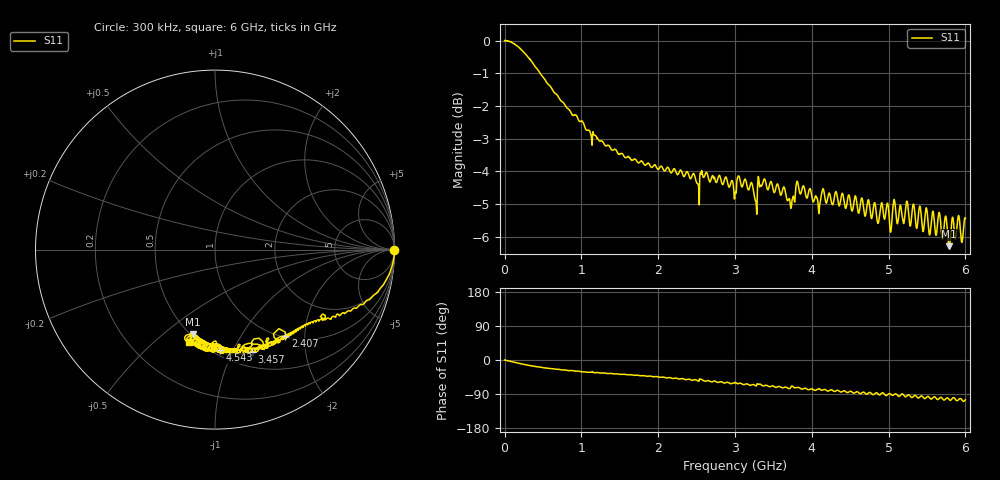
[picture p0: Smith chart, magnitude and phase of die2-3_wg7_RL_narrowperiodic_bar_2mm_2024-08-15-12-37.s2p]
!Keysight Technologies,P9374A,MY57304198,A.17.20.09
!Date: Thursday, August 15, 2024 12:37:59
!Correction: S11(C  1-Port  )
!S21(C  1-Port  )
!S12(Off)
!S22(Off)
!S2P File: Measurements: S11, S21, S12, S22:
# Hz S  dB  R 50
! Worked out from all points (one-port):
!   6000 points, 300 kHz to 6 GHz, reference 50 ohm
!   lowest |S11| = -6.3 dB at 5.789 GHz (marker M1), VSWR 2.88, Z = 25.9 - j31.8 ohm
!   |S11| at or under -10 dB: nowhere
!   S11 on the Smith chart (normalised r, x): 300 kHz: open; 2.407 GHz: 1.03, -1.60; 3.457 GHz: 0.66, -1.19; 4.543 GHz: 0.54, -0.89; 6 GHz: 0.46, -0.66
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300000  -0.00 -0.0  -200.00 45.0  -200.00 45.0  -200.00 45.0
1.773207e8  -0.19 -8.4  -200.00 45.0  -200.00 45.0  -200.00 45.0
4.123481e8  -0.84 -17.6  -200.00 45.0  -200.00 45.0  -200.00 45.0
1.000417e9  -2.46 -30.9  -200.00 45.0  -200.00 45.0  -200.00 45.0
2.000533e9  -3.94 -44.7  -200.00 45.0  -200.00 45.0  -200.00 45.0
2.406581e9  -4.17 -50.8  -200.00 45.0  -200.00 45.0  -200.00 45.0
2.566599e9  -3.97 -51.1  -200.00 45.0  -200.00 45.0  -200.00 45.0
3.00065e9  -4.67 -59.4  -200.00 45.0  -200.00 45.0  -200.00 45.0
3.122664e9  -4.26 -64.8  -200.00 45.0  -200.00 45.0  -200.00 45.0
3.25568e9  -4.81 -66.3  -200.00 45.0  -200.00 45.0  -200.00 45.0
3.316687e9  -4.39 -64.2  -200.00 45.0  -200.00 45.0  -200.00 45.0
3.456703e9  -4.36 -70.3  -200.00 45.0  -200.00 45.0  -200.00 45.0
3.697731e9  -4.85 -75.5  -200.00 45.0  -200.00 45.0  -200.00 45.0
3.749737e9  -4.83 -69.1  -200.00 45.0  -200.00 45.0  -200.00 45.0
3.815745e9  -4.33 -72.4  -200.00 45.0  -200.00 45.0  -200.00 45.0
4.000767e9  -4.76 -76.1  -200.00 45.0  -200.00 45.0  -200.00 45.0
4.54283e9  -5.03 -87.4  -200.00 45.0  -200.00 45.0  -200.00 45.0
5.000883e9  -5.19 -89.6  -200.00 45.0  -200.00 45.0  -200.00 45.0
5.238911e9  -4.91 -94.6  -200.00 45.0  -200.00 45.0  -200.00 45.0
5.788975e9  -6.28 -104.5  -200.00 45.0  -200.00 45.0  -200.00 45.0
5.847982e9  -5.62 -99.4  -200.00 45.0  -200.00 45.0  -200.00 45.0
6e9  -5.43 -105.0  -200.00 45.0  -200.00 45.0  -200.00 45.0
